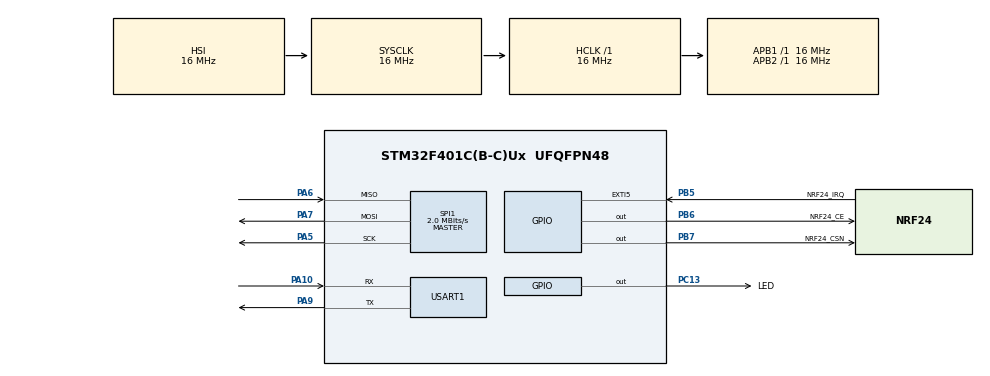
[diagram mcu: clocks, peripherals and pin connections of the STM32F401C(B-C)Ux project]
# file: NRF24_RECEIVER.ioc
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Mcu.Family=STM32F4
Mcu.Name=STM32F401C(B-C)Ux
Mcu.Package=UFQFPN48
NVIC.PriorityGroup=NVIC_PRIORITYGROUP_4
PA10.Mode=Asynchronous
PA10.Signal=USART1_RX
PA13.Mode=Serial_Wire
PA13.Signal=SYS_JTMS-SWDIO
PA14.Mode=Serial_Wire
PA14.Signal=SYS_JTCK-SWCLK
PA5.Mode=Full_Duplex_Master
PA5.Signal=SPI1_SCK
PA6.Mode=Full_Duplex_Master
PA6.Signal=SPI1_MISO
PA7.Mode=Full_Duplex_Master
PA7.Signal=SPI1_MOSI
PA9.Mode=Asynchronous
PA9.Signal=USART1_TX
PB5.GPIO_Label=NRF24_IRQ
PB5.Signal=GPXTI5
PB6.GPIO_Label=NRF24_CE
PB6.Signal=GPIO_Output
PB7.GPIO_Label=NRF24_CSN
PB7.Signal=GPIO_Output
PC13-ANTI_TAMP.GPIO_Label=LED
PC13-ANTI_TAMP.Signal=GPIO_Output
PC14-OSC32_IN.Mode=LSE-External-Oscillator
PC14-OSC32_IN.Signal=RCC_OSC32_IN
PC15-OSC32_OUT.Mode=LSE-External-Oscillator
PC15-OSC32_OUT.Signal=RCC_OSC32_OUT
PH0\ -\ OSC_IN.Mode=HSE-External-Oscillator
PH0\ -\ OSC_IN.Signal=RCC_OSC_IN
PH1\ -\ OSC_OUT.Mode=HSE-External-Oscillator
PH1\ -\ OSC_OUT.Signal=RCC_OSC_OUT
ProjectManager.HeapSize=0x200
ProjectManager.StackSize=0x400
ProjectManager.TargetToolchain=STM32CubeIDE
RCC.AHBFreq_Value=16000000
RCC.APB1Freq_Value=16000000
RCC.APB2Freq_Value=16000000
RCC.CortexFreq_Value=16000000
RCC.HSE_VALUE=25000000
RCC.HSI_VALUE=16000000
RCC.SYSCLKFreq_VALUE=16000000
RCC.VCOOutputFreq_Value=192000000
SPI1.BaudRatePrescaler=SPI_BAUDRATEPRESCALER_8
SPI1.CalculateBaudRate=2.0 MBits/s
SPI1.Direction=SPI_DIRECTION_2LINES
SPI1.Mode=SPI_MODE_MASTER
SPI1.VirtualType=VM_MASTER
USART1.VirtualMode=VM_ASYNC
board=custom

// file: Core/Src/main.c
/* USER CODE BEGIN Header */
/**
  ******************************************************************************
  * @file           : main.c
  * @brief          : Main program body
  ******************************************************************************
  * @attention
  *
  * Copyright (c) 2025 STMicroelectronics.
  * All rights reserved.
  *
  * This software is licensed under terms that can be found in the LICENSE file
  * in the root directory of this software component.
  * If no LICENSE file comes with this software, it is provided AS-IS.
  *
  ******************************************************************************
  */
/* USER CODE END Header */
#include "main.h"
#include "spi.h"
#include "usart.h"
#include "gpio.h"

/* USER CODE BEGIN Includes */
#include "stdio.h"
#include "nRF24/nRF24_Defs.h"
#include "nRF24/nRF24.h"
/* USER CODE END Includes */

/* USER CODE BEGIN PV */
volatile uint8_t nrf24_rx_flag, nrf24_tx_flag, nrf24_mr_flag;
uint8_t Nrf24_Message[NRF24_PAYLOAD_SIZE];
uint8_t Message[32];
uint8_t MessageLength;

uint8_t Nad[] = "Nad";
uint8_t Odb[] = "Odb";

uint8_t Tmp = 0;
/* USER CODE END PV */

void SystemClock_Config(void);

int main(void)
{

  /* MCU Configuration--------------------------------------------------------*/

  /* Reset of all peripherals, Initializes the Flash interface and the Systick. */
  HAL_Init();

  /* Configure the system clock */
  SystemClock_Config();

  /* Initialize all configured peripherals */
  MX_GPIO_Init();
  MX_SPI1_Init();
  MX_USART1_UART_Init();
  /* USER CODE BEGIN 2 */
  nRF24_Init(&hspi1);

  nRF24_SetRXAddress(0, Odb);
  nRF24_SetTXAddress(Nad);
  nRF24_RX_Mode();
  /* USER CODE END 2 */

  /* Infinite loop */
  /* USER CODE BEGIN WHILE */
  while (1)
  {

	  if(nRF24_RXAvailible())
	  {
		  nRF24_ReadRXPaylaod(Nrf24_Message);
		  MessageLength = sprintf((char*)Message, "%c\n\r", Nrf24_Message[0]);
		  HAL_UART_Transmit(&huart1, Message, MessageLength, 1000);
		  Tmp = *Message;
		  if (Tmp == 2)
		  {
			  HAL_GPIO_TogglePin(LED_GPIO_Port, LED_Pin);
			  HAL_Delay(500);
			  HAL_GPIO_TogglePin(LED_GPIO_Port, LED_Pin);

		  }
	  }
    /* USER CODE END WHILE */

  }
}

void SystemClock_Config(void)
{
  RCC_OscInitTypeDef RCC_OscInitStruct = {0};
  RCC_ClkInitTypeDef RCC_ClkInitStruct = {0};

  /** Configure the main internal regulator output voltage
  */
  __HAL_RCC_PWR_CLK_ENABLE();
  __HAL_PWR_VOLTAGESCALING_CONFIG(PWR_REGULATOR_VOLTAGE_SCALE2);

  /** Initializes the RCC Oscillators according to the specified parameters
  * in the RCC_OscInitTypeDef structure.
  */
  RCC_OscInitStruct.OscillatorType = RCC_OSCILLATORTYPE_HSI;
  RCC_OscInitStruct.HSIState = RCC_HSI_ON;
  RCC_OscInitStruct.HSICalibrationValue = RCC_HSICALIBRATION_DEFAULT;
  RCC_OscInitStruct.PLL.PLLState = RCC_PLL_NONE;
  if (HAL_RCC_OscConfig(&RCC_OscInitStruct) != HAL_OK)
  {
    Error_Handler();
  }

  /** Initializes the CPU, AHB and APB buses clocks
  */
  RCC_ClkInitStruct.ClockType = RCC_CLOCKTYPE_HCLK|RCC_CLOCKTYPE_SYSCLK
                              |RCC_CLOCKTYPE_PCLK1|RCC_CLOCKTYPE_PCLK2;
  RCC_ClkInitStruct.SYSCLKSource = RCC_SYSCLKSOURCE_HSI;
  RCC_ClkInitStruct.AHBCLKDivider = RCC_SYSCLK_DIV1;
  RCC_ClkInitStruct.APB1CLKDivider = RCC_HCLK_DIV1;
  RCC_ClkInitStruct.APB2CLKDivider = RCC_HCLK_DIV1;

  if (HAL_RCC_ClockConfig(&RCC_ClkInitStruct, FLASH_LATENCY_0) != HAL_OK)
  {
    Error_Handler();
  }
}

void Error_Handler(void)
{
  __disable_irq();
  while (1)
  {
  }
}
